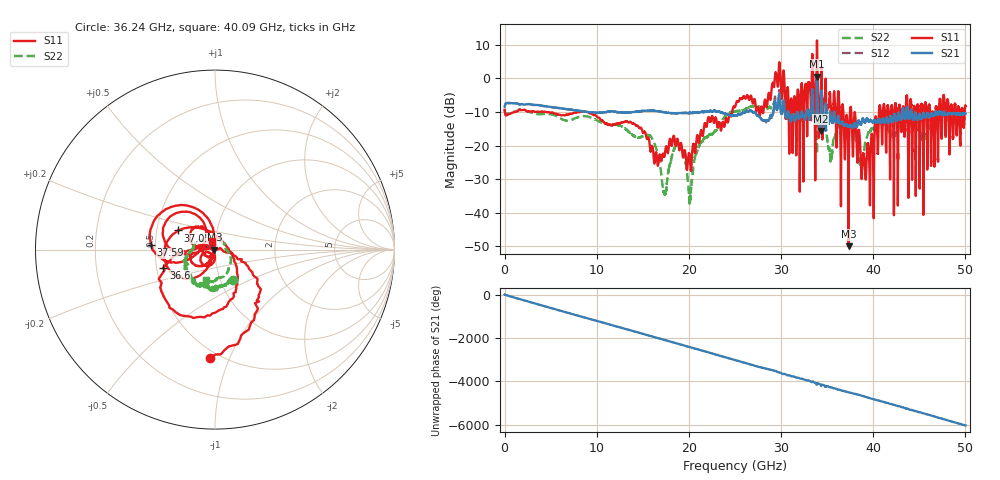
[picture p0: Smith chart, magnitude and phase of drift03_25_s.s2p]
!Created with skrf (http://scikit-rf.org).
# Hz S RI R 50.0
!freq ReS11 ImS11 ReS21 ImS21 ReS12 ImS12 ReS22 ImS22
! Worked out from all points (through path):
!   10001 points, 300 kHz to 50 GHz, reference 50 ohm
!   highest |S21| = 0.56 dB at 33.9 GHz (marker M1); lowest = -15.6 dB at 34.32 GHz (marker M2)
!   group delay of S21, straight-line fit = 335 ps
!   lowest |S11| = -50.0 dB at 37.32 GHz (marker M3), VSWR 1.01, Z = 49.7 - j0.0844 ohm
!   |S11| at or under -10 dB: 4.472 GHz to 7.935 GHz (3.463 GHz wide, 55.8 % of centre); 9.022 GHz to 24.7 GHz (15.67 GHz wide, 93 % of centre); 37.62 GHz to 40.63 GHz (3.007 GHz wide, 7.69 % of centre) (the widest 3 of 62)
!   |S22| runs from -37.3 to -5.9 dB; largest |S21 - S12| = 0.11
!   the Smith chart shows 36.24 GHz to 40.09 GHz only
!   S11 on the Smith chart (normalised r, x): 36.24 GHz: 0.45, -0.85; 36.6 GHz: 0.54, -0.12; 37.05 GHz: 0.65, +0.15; 37.59 GHz: 0.47, +0.03; 40.09 GHz: 0.97, +0.09
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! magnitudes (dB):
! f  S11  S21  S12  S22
! 300 kHz  -9.4  -8.5  -8.4  -9.3
! 8.335 GHz  -9.9  -9.8  -9.8  -11.3
! 16.67 GHz  -25.5  -9.8  -9.8  -23.4
! 17.37 GHz  -22.9  -10.1  -10.1  -34.5
! 19.06 GHz  -20.0  -10.3  -10.4  -20.0
! 20.12 GHz  -24.4  -10.3  -10.3  -37.1
! 21.19 GHz  -17.9  -10.1  -10.1  -19.5
! 25 GHz  -8.6  -11.1  -11.1  -9.8
! 31.08 GHz  -6.1  -12.7  -12.7  -10.5
! 33.34 GHz  0.4  -7.7  -7.8  -9.5
! 33.9 GHz  11.3  0.6  0.2  -22.6
! 34.32 GHz  -2.8  -15.6  -15.0  -11.3
! 35.35 GHz  -6.9  -10.5  -10.1  -24.5
! 36.24 GHz  -4.4  -11.7  -11.7  -14.2
! 36.6 GHz  -10.3  -13.1  -13.1  -13.9
! 37.05 GHz  -12.7  -13.9  -14.0  -13.6
! 37.32 GHz  -50.0  -14.4  -14.5  -13.7
! 37.59 GHz  -8.9  -13.9  -13.9  -14.0
! 38.7 GHz  -27.0  -13.5  -13.5  -25.3
! 40.09 GHz  -26.1  -12.6  -12.7  -14.9
! 41.67 GHz  -9.7  -13.3  -13.2  -14.8
! 50 GHz  -8.1  -10.5  -10.5  -12.1
